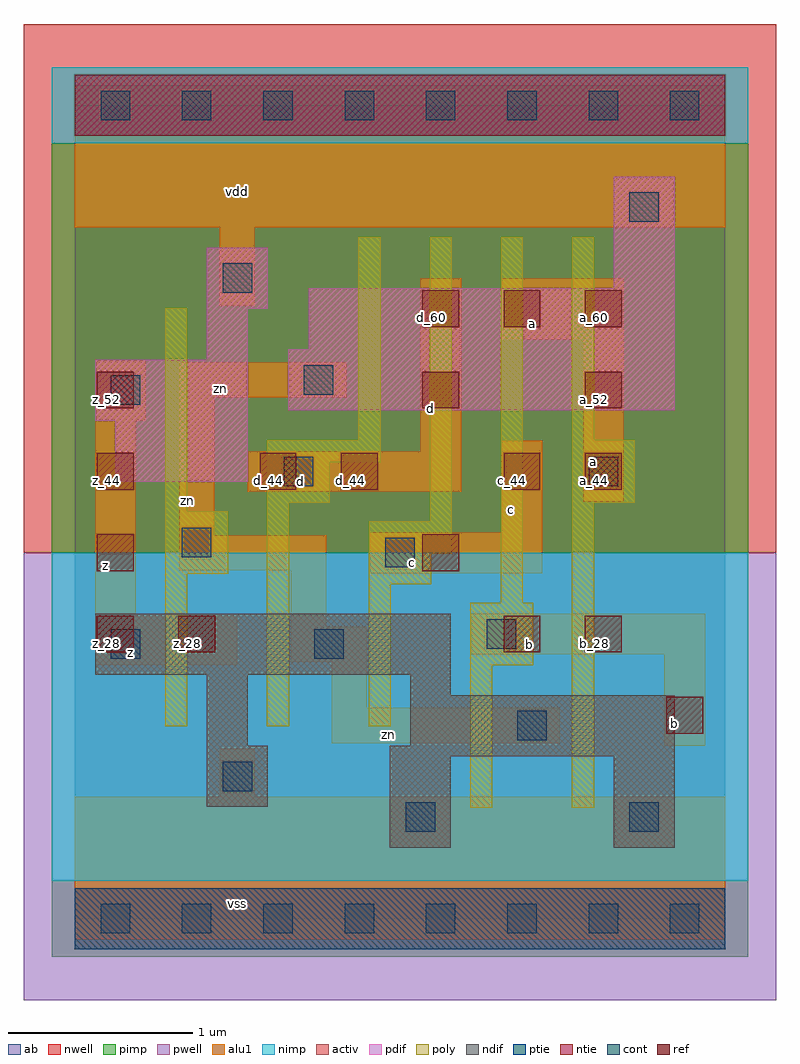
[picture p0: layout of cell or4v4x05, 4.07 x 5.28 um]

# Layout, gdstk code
import gdstk
lib = gdstk.Library(unit=1e-6, precision=2.5e-09)
def R(c, l, rs):  # rectangles x0, y0, x1, y1
    for r in rs: c.add(gdstk.rectangle(r[:2], r[2:], *l))
def A(c, l, x, y, w, h, nx, ny, dx, dy):  # array of equal rectangles
    R(c, l, [(x+i*dx, y+j*dy, x+i*dx+w, y+j*dy+h) for i in range(nx) for j in range(ny)])
ndif = (3, 0)
pdif = (4, 0)
ntie = (5, 0)
ptie = (6, 0)
ref = (24, 0)
cont = (25, 0)
pwell = (41, 0)
nwell = (42, 0)
activ = (43, 0)
pimp = (44, 0)
nimp = (45, 0)
poly = (46, 0)
alu1 = (49, 0)
ab = (63, 0)

or4v4x05 = lib.new_cell('or4v4x05')
R(or4v4x05, ndif, [(1.705,0.385,2.035,0.88), (2.915,0.385,3.245,0.88), (0.715,0.605,1.045,0.935), (1.705,0.88,3.245,0.935), (0.715,0.935,0.935,1.32), (1.815,0.935,3.245,1.21), (1.815,1.21,2.035,1.32), (0.11,1.32,2.035,1.65)])
R(or4v4x05, pdif, [(0.22,2.365,0.935,2.695), (0.11,2.695,0.935,3.025), (1.155,2.75,3.245,3.08), (0.715,3.025,0.935,3.3), (1.265,3.08,3.245,3.41), (0.715,3.3,1.045,3.63), (2.915,3.41,3.245,4.015)])
R(or4v4x05, ntie, [(0,4.235,3.52,4.565)])
R(or4v4x05, ptie, [(0,-0.165,3.52,0.165)])
A(or4v4x05, ref, 0.12, 1.44, 0.2, 0.2, 1, 4, 0, 0.44)
A(or4v4x05, ref, 1.88, 3.2, 0.2, 0.2, 3, 1, 0.44, 0)
R(or4v4x05, ref, [(3.2,1,3.4,1.2), (0.56,1.44,0.76,1.64), (2.32,1.44,2.52,1.64), (2.76,1.44,2.96,1.64), (1.88,1.88,2.08,2.08), (1,2.32,1.2,2.52), (1.44,2.32,1.64,2.52), (2.32,2.32,2.52,2.52), (2.76,2.32,2.96,2.52), (1.88,2.76,2.08,2.96), (2.76,2.76,2.96,2.96)])
A(or4v4x05, cont, 0.14, -0.08, 0.16, 0.16, 8, 2, 0.44, 4.4)
R(or4v4x05, cont, [(1.79,0.47,1.95,0.63), (3,0.47,3.16,0.63), (0.8,0.69,0.96,0.85), (2.395,0.965,2.555,1.125), (0.195,1.405,0.355,1.565), (1.295,1.405,1.455,1.565), (2.23,1.46,2.39,1.62), (1.68,1.9,1.84,2.06), (0.58,1.955,0.74,2.115), (1.13,2.34,1.29,2.5), (2.78,2.34,2.94,2.5), (0.195,2.78,0.355,2.94), (1.24,2.835,1.4,2.995), (0.8,3.385,0.96,3.545), (3,3.77,3.16,3.93)])
R(or4v4x05, pwell, [(-0.275,-0.44,3.795,1.98)])
R(or4v4x05, nwell, [(-0.275,1.98,3.795,4.84)])
R(or4v4x05, activ, [(0,-0.165,3.52,0.165), (1.705,0.385,2.035,0.88), (2.915,0.385,3.245,0.88), (0.715,0.605,1.045,0.935), (1.705,0.88,3.245,0.935), (0.715,0.935,0.935,1.32), (1.815,0.935,3.245,1.21), (1.815,1.21,2.035,1.32), (0.11,1.32,2.035,1.65), (0.22,2.365,0.935,2.695), (0.11,2.695,0.935,3.025), (1.155,2.75,3.245,3.08), (0.715,3.025,0.935,3.3), (1.265,3.08,3.245,3.41), (0.715,3.3,1.045,3.63), (2.915,3.41,3.245,4.015), (0,4.235,3.52,4.565)])
R(or4v4x05, pimp, [(-0.125,-0.205,3.645,0.205), (-0.125,1.98,3.645,4.195)])
R(or4v4x05, nimp, [(-0.125,0.205,3.645,1.98), (-0.125,4.195,3.645,4.605)])
R(or4v4x05, poly, [(2.14,0.6,2.26,1.37), (2.69,0.6,2.81,2.25), (0.49,1.04,0.61,1.865), (1.04,1.04,1.16,2.25), (1.59,1.04,1.71,1.81), (2.14,1.37,2.48,1.71), (2.305,1.71,2.425,3.69), (1.59,1.81,1.93,1.975), (0.49,1.865,0.83,2.205), (1.59,1.975,2.04,2.15), (1.92,2.15,2.04,3.69), (0.49,2.205,0.61,3.305), (1.04,2.25,1.38,2.47), (2.69,2.25,3.03,2.59), (1.04,2.47,1.655,2.59), (1.535,2.59,1.655,3.69), (2.69,2.59,2.81,3.69)])
R(or4v4x05, alu1, [(0,-0.11,3.52,0.66), (0.785,0.66,0.975,0.92), (3.19,0.935,3.41,1.43), (1.39,0.95,2.625,1.14), (1.39,1.14,1.58,1.39), (0.11,1.375,0.88,1.65), (1.17,1.39,1.58,1.58), (2.145,1.43,3.41,1.65), (1.17,1.58,1.36,1.885), (0.11,1.65,0.33,2.695), (1.595,1.87,2.53,2.09), (0.565,1.885,1.36,2.075), (0.565,2.075,0.755,2.82), (2.31,2.09,2.53,2.585), (2.75,2.255,2.97,3.135), (0.935,2.31,2.09,2.53), (1.87,2.53,2.09,3.465), (0.11,2.695,0.385,3.025), (0.565,2.82,1.47,3.01), (2.31,3.135,2.97,3.465), (0.785,3.315,0.975,3.74), (0,3.74,3.52,4.51)])
R(or4v4x05, ab, [(0,0,3.52,4.4)])
or4v4x05.add(gdstk.Label('vss', (0.88,0.0825), layer=49, texttype=0))
or4v4x05.add(gdstk.Label('b', (3.245,1.0575), layer=49, texttype=0))
or4v4x05.add(gdstk.Label('zn', (1.6975,0.9975), layer=49, texttype=0))
or4v4x05.add(gdstk.Label('b', (2.46,1.485), layer=49, texttype=0))
or4v4x05.add(gdstk.Label('c', (1.8275,1.925), layer=49, texttype=0))
or4v4x05.add(gdstk.Label('z', (0.3025,1.4425), layer=49, texttype=0))
or4v4x05.add(gdstk.Label('a', (2.805,2.475), layer=49, texttype=0))
or4v4x05.add(gdstk.Label('c', (2.365,2.2125), layer=49, texttype=0))
or4v4x05.add(gdstk.Label('d', (1.2225,2.365), layer=49, texttype=0))
or4v4x05.add(gdstk.Label('a', (2.475,3.2175), layer=49, texttype=0))
or4v4x05.add(gdstk.Label('d', (1.925,2.7625), layer=49, texttype=0))
or4v4x05.add(gdstk.Label('zn', (0.6125,2.26), layer=49, texttype=0))
or4v4x05.add(gdstk.Label('z', (0.165,1.91), layer=49, texttype=0))
or4v4x05.add(gdstk.Label('zn', (0.79,2.8675), layer=49, texttype=0))
or4v4x05.add(gdstk.Label('vdd', (0.88,3.9325), layer=49, texttype=0))
or4v4x05.add(gdstk.Label('z_28', (0.61,1.49), layer=24, texttype=0))
or4v4x05.add(gdstk.Label('d_44', (1.05,2.37), layer=24, texttype=0))
or4v4x05.add(gdstk.Label('d_44', (1.49,2.37), layer=24, texttype=0))
or4v4x05.add(gdstk.Label('c_36', (1.93,1.93), layer=24, texttype=0))
or4v4x05.add(gdstk.Label('d_52', (1.93,2.81), layer=24, texttype=0))
or4v4x05.add(gdstk.Label('d_60', (1.93,3.25), layer=24, texttype=0))
or4v4x05.add(gdstk.Label('z_28', (0.17,1.49), layer=24, texttype=0))
or4v4x05.add(gdstk.Label('z_36', (0.17,1.93), layer=24, texttype=0))
or4v4x05.add(gdstk.Label('z_44', (0.17,2.37), layer=24, texttype=0))
or4v4x05.add(gdstk.Label('z_52', (0.17,2.81), layer=24, texttype=0))
or4v4x05.add(gdstk.Label('b_28', (2.37,1.49), layer=24, texttype=0))
or4v4x05.add(gdstk.Label('c_44', (2.37,2.37), layer=24, texttype=0))
or4v4x05.add(gdstk.Label('a_60', (2.37,3.25), layer=24, texttype=0))
or4v4x05.add(gdstk.Label('b_28', (2.81,1.49), layer=24, texttype=0))
or4v4x05.add(gdstk.Label('a_44', (2.81,2.37), layer=24, texttype=0))
or4v4x05.add(gdstk.Label('a_52', (2.81,2.81), layer=24, texttype=0))
or4v4x05.add(gdstk.Label('a_60', (2.81,3.25), layer=24, texttype=0))
or4v4x05.add(gdstk.Label('b_20', (3.25,1.05), layer=24, texttype=0))

lib.write_gds('or4v4x05.gds')
